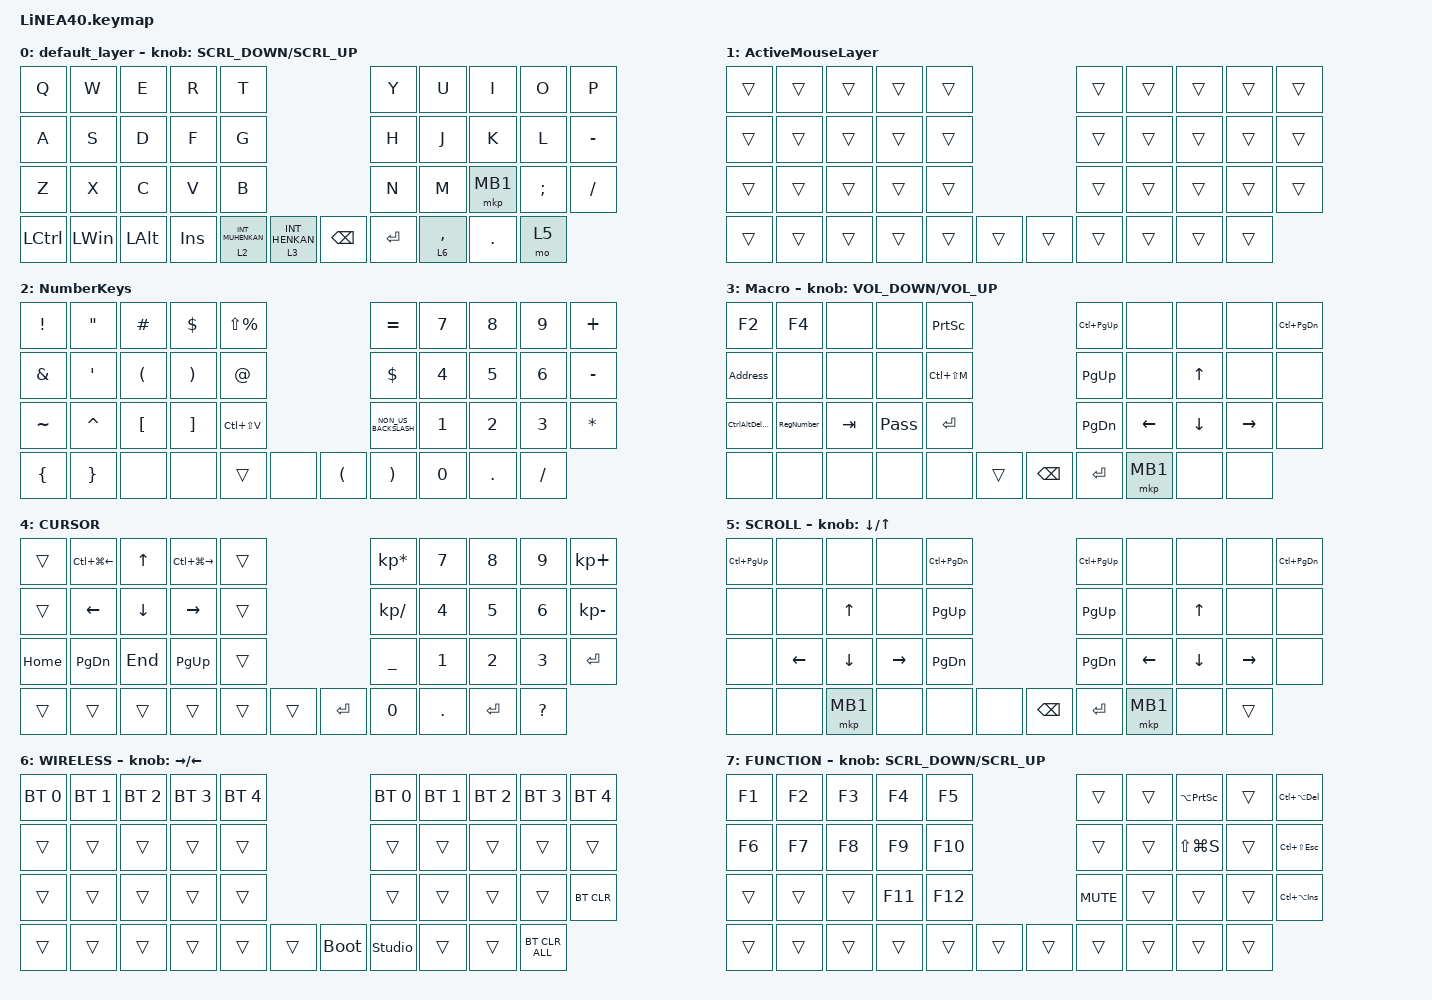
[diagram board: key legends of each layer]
#define ZMK_POINTING_DEFAULT_SCRL_VAL 150

#include <dt-bindings/zmk/input_transform.h>
#include <input/processors.dtsi>
#include <zephyr/dt-bindings/input/input-event-codes.h>
#include <behaviors.dtsi>
#include <dt-bindings/zmk/bt.h>
#include <dt-bindings/zmk/keys.h>
#include <dt-bindings/zmk/pointing.h>

#define MOUSE 1
#define MARK 2
#define CURSOR 3
#define FUNCTION 4
#define SCROLL 5
#define WIRELESS 6

//mouse cursol

&mmv {
    delay-ms = <20>;
    trigger-period-ms = <5>;
    time-to-max-speed-ms = <400>;
    acceleration-exponent = <2>;
};

//mouse scroll

&msc {
    delay-ms = <3>;
    trigger-period-ms = <3>;
    time-to-max-speed-ms = <400>;
    acceleration-exponent = <0>;
};

/ {
    input_processors {
        zip_wheel_scaler: zip_wheel_scaler {
            compatible = "zmk,input-processor-scaler";
            #input-processor-cells = <2>;
            type = <INPUT_EV_REL>;
            codes = <INPUT_REL_WHEEL>;
            track-remainders;
        };
    };
};

&msc_input_listener {
    speed_up {
        layers = <FUNCTION>;
        input-processors = <&zip_wheel_scaler 3 1>; //スクロールを3倍速にする
    };
};

&trackball_listener {
    scroller {
        layers = <SCROLL>;
        input-processors =
            <&zip_xy_transform INPUT_TRANSFORM_Y_INVERT>,
            //スクロール方向を逆転,,,,,,,,,,,
            <&zip_xy_to_scroll_mapper>;
    };
};

/ {
    combos {
        compatible = "zmk,combos";

        DeleteKey {
            bindings = <&kp DEL>;
            key-positions = <36 9>;
        };

        CenterClick {
            bindings = <&mkp MB3>;
            key-positions = <17 16>;
        };

        RightClick {
            bindings = <&mkp MB2>;
            key-positions = <18 17>;
        };

        ClickNext {
            bindings = <&mkp MB5>;
            key-positions = <27 28>;
        };

        PrevClick {
            bindings = <&mkp MB4>;
            key-positions = <25 26>;
        };

        Esc {
            bindings = <&kp ESCAPE>;
            key-positions = <0 1>;
        };

        Tab {
            bindings = <&kp TAB>;
            key-positions = <10 11>;
        };

        LeftClick {
            bindings = <&mkp MB1>;
            key-positions = <16 15>;
        };

        Space {
            bindings = <&kp SPACE>;
            key-positions = <24 23>;
        };

        Shift {
            bindings = <&kp LEFT_SHIFT>;
            key-positions = <20 21>;
        };
    };

    behaviors {
        re_kp: sensor_rotate_kp {
            compatible = "zmk,behavior-sensor-rotate-var";
            #sensor-binding-cells = <2>;
            bindings = <&kp>, <&kp>;
        };

        mouse_scrl: mouse_wheel_scrl {
            compatible = "zmk,behavior-sensor-rotate-var";
            #sensor-binding-cells = <2>;
            bindings = <&msc>, <&msc>;

            tap-ms = <20>;
        };
    };

    macros {
        CtrlAltDelete: CtrlAltDelete {
            compatible = "zmk,behavior-macro";
            #binding-cells = <0>;
            bindings = <&kp LC(LA(DELETE))>;
            label = "CTRLALTDELETE";
        };

        RegNumber: RegNumber {
            compatible = "zmk,behavior-macro";
            #binding-cells = <0>;
            bindings = <&kp N1 &kp N5 &kp N6 &kp N0 &kp N3 &kp N5>;
            label = "REGNUMBER";
        };

        Pass: Pass {
            compatible = "zmk,behavior-macro";
            #binding-cells = <0>;
            bindings = <&kp LS(N) &kp O &kp M &kp U &kp R &kp A &kp N2 &kp N1>;
            label = "PASS";
        };

        Address: Address {
            compatible = "zmk,behavior-macro";
            #binding-cells = <0>;
            bindings = <&kp T &kp A &kp K &kp A &kp H &kp I &kp R &kp O &kp DOT &kp O &kp K &kp A &kp M &kp O &kp T &kp O &kp AT &kp N &kp O &kp M &kp U &kp R &kp A &kp DOT &kp C &kp O &kp M>;
            label = "ADDRESS";
        };
    };

    keymap {
        compatible = "zmk,keymap";

        default_layer {
            bindings = <
&kp Q      &kp W         &kp E         &kp R    &kp T                                                  &kp Y      &kp U  &kp I        &kp O          &kp P
&kp A      &kp S         &kp D         &kp F    &kp G                                                  &kp H      &kp J  &kp K        &kp L          &kp MINUS
&kp Z      &kp X         &kp C         &kp V    &kp B                                                  &kp N      &kp M  &mkp MB1     &kp SEMICOLON  &kp SLASH
&kp LCTRL  &kp LEFT_WIN  &kp LEFT_ALT  &kp INS  &lt 2 INT_MUHENKAN  &lt 3 INT_HENKAN    &kp BACKSPACE  &kp ENTER         &lt 6 COMMA  &kp PERIOD     &mo 5
            >;

            sensor-bindings = <&mouse_scrl SCRL_DOWN SCRL_UP>;
        };

        ActiveMouseLayer {
            bindings = <
&trans  &trans  &trans  &trans  &trans                    &trans  &trans  &trans  &trans  &trans
&trans  &trans  &trans  &trans  &trans                    &trans  &trans  &trans  &trans  &trans
&trans  &trans  &trans  &trans  &trans                    &trans  &trans  &trans  &trans  &trans
&trans  &trans  &trans  &trans  &trans  &trans    &trans  &trans          &trans  &trans  &trans
            >;
        };

        NumberKeys {
            bindings = <
&kp EXCLAMATION  &kp DOUBLE_QUOTES  &kp HASH              &kp DOLLAR             &kp LS(PERCENT)                                 &kp EQUAL              &kp N7        &kp N8        &kp N9        &kp PLUS
&kp AMPERSAND    &kp SQT            &kp LEFT_PARENTHESIS  &kp RIGHT_PARENTHESIS  &kp AT_SIGN                                     &kp DOLLAR             &kp NUMBER_4  &kp N5        &kp NUMBER_6  &kp MINUS
&kp TILDE        &kp CARET          &kp LEFT_BRACKET      &kp RIGHT_BRACKET      &kp LC(LS(V))                                   &kp NON_US_BACKSLASH   &kp NUMBER_1  &kp NUMBER_2  &kp NUMBER_3  &kp ASTERISK
&kp LEFT_BRACE   &kp RIGHT_BRACE    &none                 &none                  &trans           &none    &kp LEFT_PARENTHESIS  &kp RIGHT_PARENTHESIS                &kp N0        &kp PERIOD    &kp SLASH
            >;
        };

        Macro {
            bindings = <
&kp F2          &kp F4      &none    &none  &kp PRINTSCREEN                           &kp LC(PG_UP)  &none     &none     &none      &kp LC(PG_DN)
&Address        &none       &none    &none  &kp LC(LS(M))                             &kp PG_UP      &none     &kp UP    &none      &none
&CtrlAltDelete  &RegNumber  &kp TAB  &Pass  &kp ENTER                                 &kp PG_DN      &kp LEFT  &kp DOWN  &kp RIGHT  &none
&none           &none       &none    &none  &none            &trans    &kp BACKSPACE  &kp ENTER                &mkp MB1  &none      &none
            >;

            sensor-bindings = <&re_kp C_VOLUME_DOWN C_VOLUME_UP>;
        };

        CURSOR {
            bindings = <
&trans    &kp LC(LG(LEFT_ARROW))  &kp UP_ARROW  &kp LC(LG(RIGHT_ARROW))  &trans                       &kp KP_MULTIPLY  &kp NUMBER_7  &kp NUMBER_8  &kp NUMBER_9  &kp KP_PLUS
&trans    &kp LEFT_ARROW          &kp DOWN      &kp RIGHT_ARROW          &trans                       &kp KP_SLASH     &kp NUMBER_4  &kp NUMBER_5  &kp NUMBER_6  &kp KP_MINUS
&kp HOME  &kp PAGE_DOWN           &kp END       &kp PAGE_UP              &trans                       &kp UNDER        &kp NUMBER_1  &kp NUMBER_2  &kp NUMBER_3  &kp ENTER
&trans    &trans                  &trans        &trans                   &trans  &trans    &kp ENTER  &kp NUMBER_0                   &kp DOT       &kp ENTER     &kp QUESTION
            >;
        };

        SCROLL {
            bindings = <
&kp LC(PG_UP)  &none     &none     &none      &kp LC(PAGE_DOWN)                          &kp LC(PG_UP)  &none     &none     &none      &kp LC(PG_DN)
&none          &none     &kp UP    &none      &kp PG_UP                                  &kp PG_UP      &none     &kp UP    &none      &none
&none          &kp LEFT  &kp DOWN  &kp RIGHT  &kp PAGE_DOWN                              &kp PG_DN      &kp LEFT  &kp DOWN  &kp RIGHT  &none
&none          &none     &mkp MB1  &none      &none              &none    &kp BACKSPACE  &kp ENTER                &mkp MB1  &none      &trans
            >;

            sensor-bindings = <&inc_dec_kp DOWN_ARROW UP_ARROW>;
        };

        WIRELESS {
            bindings = <
&bt BT_SEL 0  &bt BT_SEL 1  &bt BT_SEL 2  &bt BT_SEL 3  &bt BT_SEL 4                         &bt BT_SEL 0    &bt BT_SEL 1  &bt BT_SEL 2  &bt BT_SEL 3  &bt BT_SEL 4
&trans        &trans        &trans        &trans        &trans                               &trans          &trans        &trans        &trans        &trans
&trans        &trans        &trans        &trans        &trans                               &trans          &trans        &trans        &trans        &bt BT_CLR
&trans        &trans        &trans        &trans        &trans        &trans    &bootloader  &studio_unlock                &trans        &trans        &bt BT_CLR_ALL
            >;

            sensor-bindings = <&inc_dec_kp RIGHT_ARROW LEFT_ARROW>;
        };

        FUNCTION {
            bindings = <
&kp F1  &kp F2  &kp F3  &kp F4   &kp F5                     &trans      &trans  &kp LA(PRINTSCREEN)  &trans  &kp LC(LA(DELETE))
&kp F6  &kp F7  &kp F8  &kp F9   &kp F10                    &trans      &trans  &kp LS(LG(S))        &trans  &kp LC(LS(ESCAPE))
&trans  &trans  &trans  &kp F11  &kp F12                    &kp C_MUTE  &trans  &trans               &trans  &kp LC(LA(INS))
&trans  &trans  &trans  &trans   &trans   &trans    &trans  &trans              &trans               &trans  &trans
            >;

            sensor-bindings = <&mouse_scrl SCRL_DOWN SCRL_UP>;
        };
    };
};
